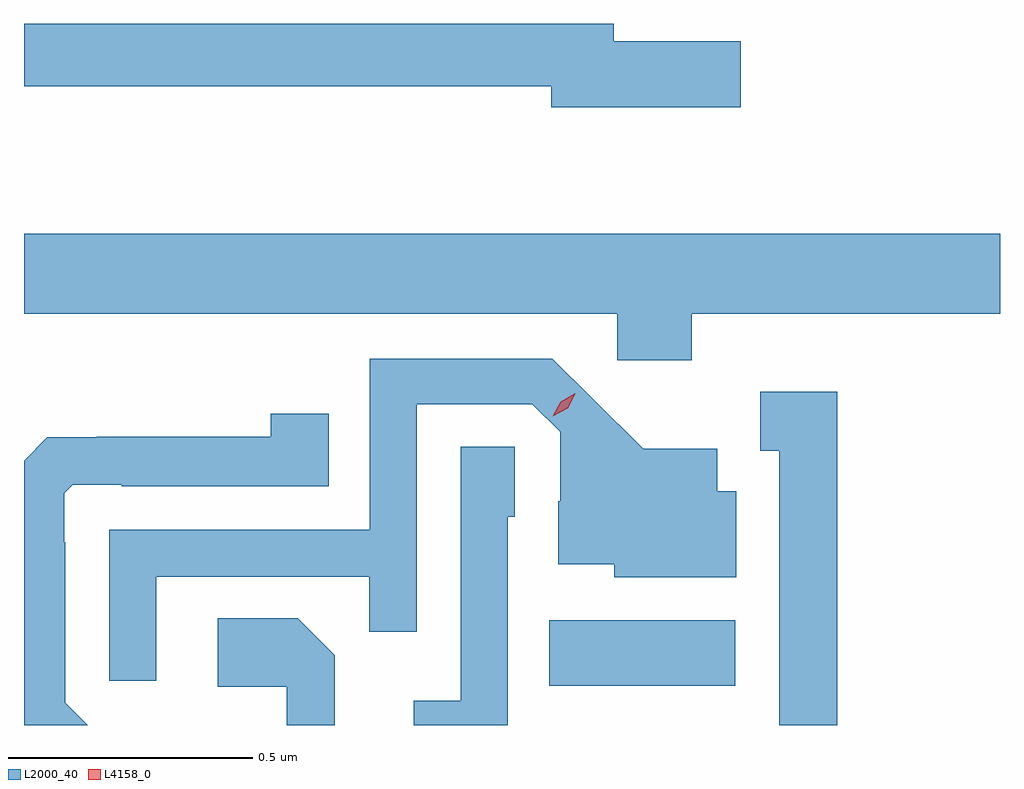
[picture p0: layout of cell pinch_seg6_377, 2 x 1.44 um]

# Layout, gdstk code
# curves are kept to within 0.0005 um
import gdstk
lib = gdstk.Library(unit=1e-6, precision=1e-09)
def R(c, l, rs):  # rectangles x0, y0, x1, y1
    for r in rs: c.add(gdstk.rectangle(r[:2], r[2:], *l))
def P(c, l, *ps):  # polygons
    for p in ps: c.add(gdstk.Polygon(p, *l))
L2000_40 = (2000, 40)
L4158_0 = (4158, 0)

pinch_seg6_377 = lib.new_cell('pinch_seg6_377')
R(pinch_seg6_377, L2000_40, [(635.98,950.57,636.361,950.704)])
P(pinch_seg6_377, L2000_40, [(636.373,951.89),(636.112,951.89),(636.112,951.926),(634.904,951.926),(634.904,951.798),(635.984,951.798),(635.984,951.755),(636.373,951.755)],
  [(636.272,951.332),(636.904,951.332),(636.904,951.496),(634.904,951.496),(634.904,951.332),(636.12,951.332),(636.12,951.237),(636.272,951.237)],
  [(635.175,950.793),(635.611,950.793),(635.611,950.68),(635.709,950.68),(635.709,951.147),(635.946,951.147),(636.003,951.09),(636.003,950.948),(635.999,950.948),(635.999,950.819),(636.114,950.819),(636.114,950.792),(636.364,950.792),(636.364,950.968),(636.325,950.968),(636.325,951.055),(636.173,951.055),(635.986,951.24),(635.613,951.24),(635.613,950.889),(635.079,950.889),(635.079,950.58),(635.175,950.58)],
  [(636.571,951.172),(636.413,951.172),(636.413,951.051),(636.452,951.051),(636.452,950.489),(636.571,950.489)],
  [(634.989,950.535),(634.989,950.864),(634.986,950.864),(634.986,950.964),(635.004,950.982),(635.104,950.982),(635.104,950.979),(635.528,950.979),(635.528,951.127),(635.41,951.127),(635.41,951.08),(635.053,951.08),(635.053,951.079),(634.952,951.079),(634.904,951.031),(634.904,950.489),(635.035,950.489)],
  [(635.895,950.916),(635.91,950.916),(635.91,951.059),(635.799,951.059),(635.799,950.539),(635.703,950.539),(635.703,950.489),(635.895,950.489)],
  [(635.541,950.632),(635.465,950.708),(635.301,950.708),(635.301,950.568),(635.442,950.568),(635.442,950.489),(635.541,950.489)])
P(pinch_seg6_377, L4158_0, [(635.987,951.122),(635.987,951.122),(636.004,951.152),(636.034,951.169),(636.034,951.169),(636.034,951.168),(636.018,951.138),(635.988,951.122)])

lib.write_gds('pinch_seg6_377.gds')
